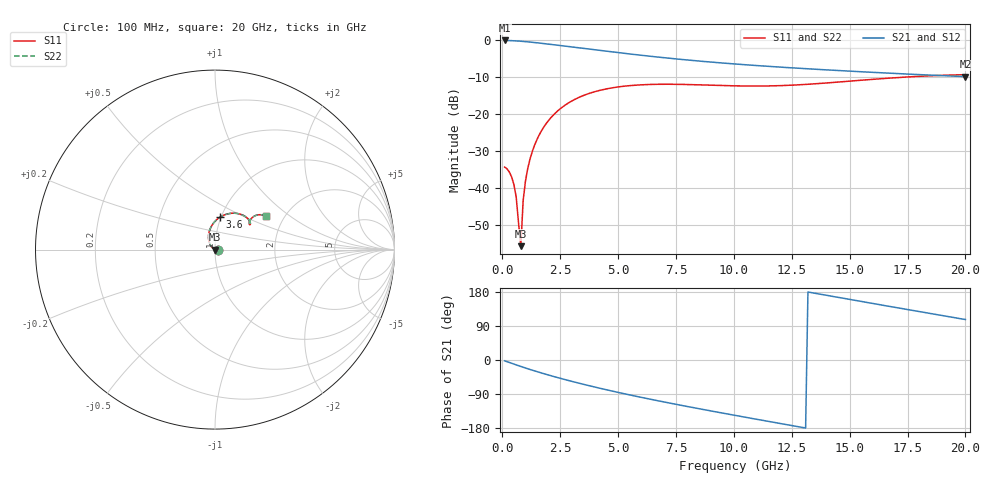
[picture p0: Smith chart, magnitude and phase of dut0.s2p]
! Created with skrf 1.9.0 (http://scikit-rf.org).
# GHz S RI R 50.0
!freq ReS11 ImS11 ReS21 ImS21 ReS12 ImS12 ReS22 ImS22
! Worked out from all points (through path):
!   200 points, 100 MHz to 20 GHz, reference 50 ohm
!   highest |S21| = -0.17 dB at 100 MHz (marker M1); lowest = -9.9 dB at 20 GHz (marker M2)
!   group delay of S21, straight-line fit = 33.2 ps
!   lowest |S11| = -55.7 dB at 800 MHz (marker M3), VSWR 1.00, Z = 49.8 - j0.00703 ohm
!   |S11| at or under -10 dB: start of sweep to 17.59 GHz
!   |S22| runs from -55.7 to -9.4 dB; largest |S21 - S12| = 2e-15
!   S11 on the Smith chart (normalised r, x): 100 MHz: 1.04, -0.00; 3.6 GHz: 0.99, +0.37; 20 GHz: 1.62, +0.68
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0.1  0.0191 -0.0012  0.9794 -0.0373  0.9794 -0.0373  0.0191 -0.0012
0.3  0.0162 -0.00327  0.9705 -0.1108  0.9705 -0.1108  0.0162 -0.00327
0.5  0.0105 -0.00385  0.9535 -0.1817  0.9535 -0.1817  0.0105 -0.00385
0.6  0.00681 -0.00329  0.9423 -0.2157  0.9423 -0.2157  0.00681 -0.00329
0.8  -0.00164 -7.06e-05  0.9149 -0.2805  0.9149 -0.2805  -0.00164 -7.06e-05
0.9  -0.00615 0.00268  0.8991 -0.3111  0.8991 -0.3111  -0.00615 0.00268
1  -0.0107 0.0062  0.8821 -0.3403  0.8821 -0.3403  -0.0107 0.0062
1.1  -0.0151 0.0105  0.864 -0.3682  0.864 -0.3682  -0.0151 0.0105
1.2  -0.0193 0.0155  0.845 -0.3947  0.845 -0.3947  -0.0193 0.0155
1.4  -0.0267 0.0274  0.8046 -0.4437  0.8046 -0.4437  -0.0267 0.0274
1.8  -0.0354 0.0569  0.7174 -0.5259  0.7174 -0.5259  -0.0354 0.0569
2.2  -0.0345 0.0897  0.6261 -0.5889  0.6261 -0.5889  -0.0345 0.0897
2.8  -0.0167 0.1359  0.4886 -0.6526  0.4886 -0.6526  -0.0167 0.1359
3.5  0.0206 0.1757  0.3348 -0.6889  0.3348 -0.6889  0.0206 0.1757
3.6  0.0267 0.1799  0.3138 -0.6913  0.3138 -0.6913  0.0267 0.1799
5.2  0.121 0.2018  0.021 -0.6601  0.021 -0.6601  0.121 0.2018
6.8  0.1778 0.1773  -0.1849 -0.551  -0.1849 -0.551  0.1778 0.1773
8.4  0.1964 0.1501  -0.3162 -0.4127  -0.3162 -0.4127  0.1964 0.1501
10.1  0.1949 0.1381  -0.3928 -0.2586  -0.3928 -0.2586  0.1949 0.1381
13.4  0.1947 0.1622  -0.402 0.0196  -0.402 0.0196  0.1947 0.1622
16.7  0.2348 0.1926  -0.2781 0.2198  -0.2781 0.2198  0.2348 0.1926
20  0.2834 0.1849  -0.0919 0.3049  -0.0919 0.3049  0.2834 0.1849
